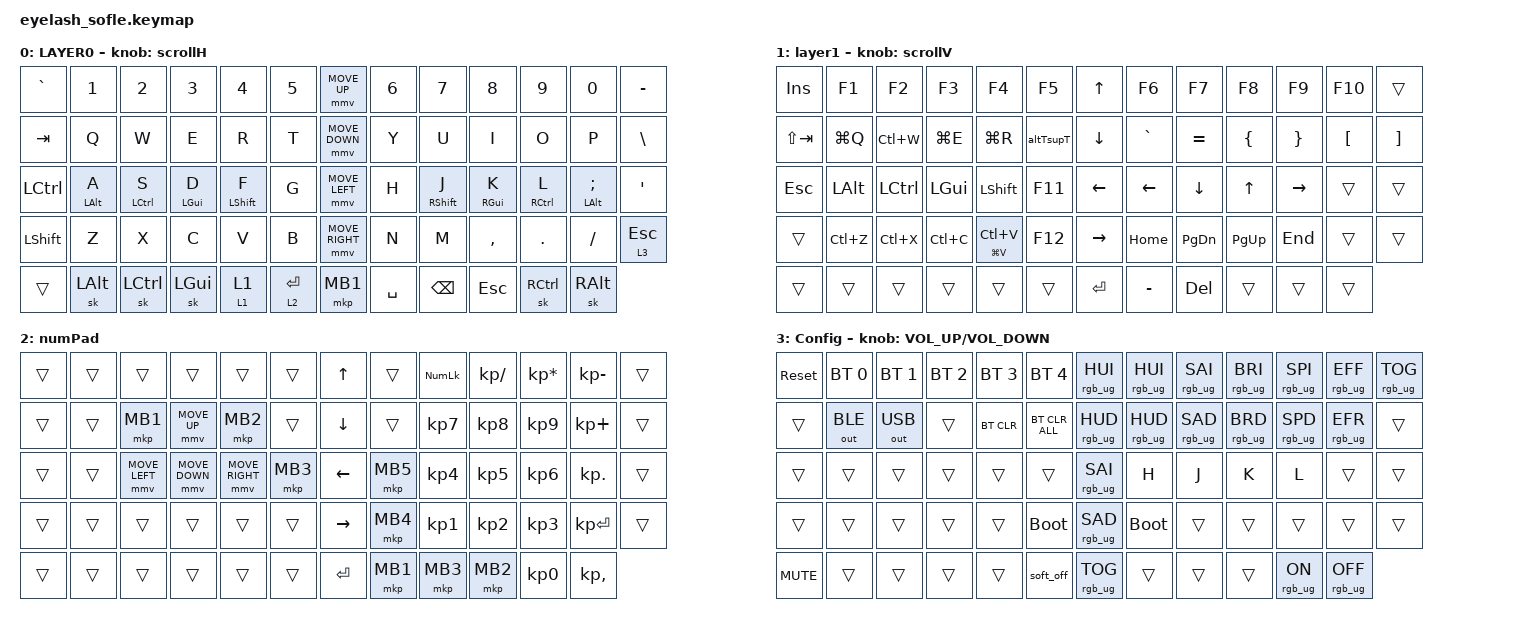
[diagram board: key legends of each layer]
#define ZMK_POINTING_DEFAULT_MOVE_VAL 1200  // 600
#define ZMK_POINTING_DEFAULT_SCRL_VAL 25   // 10

#include <input/processors.dtsi>
#include <zephyr/dt-bindings/input/input-event-codes.h>
#include <behaviors.dtsi>
#include <dt-bindings/zmk/bt.h>
#include <dt-bindings/zmk/keys.h>
#include <dt-bindings/zmk/outputs.h>
#include <dt-bindings/zmk/pointing.h>
#include <dt-bindings/zmk/rgb.h>

&mmv_input_listener { input-processors = <&zip_xy_scaler 2 1>; };

&msc_input_listener { input-processors = <&zip_scroll_scaler 2 1>; };

&msc {
    acceleration-exponent = <1>;      // 0
    time-to-max-speed-ms = <100>;       // 300
    delay-ms = <0>;                   // 0
};

&mmv {
    time-to-max-speed-ms = <500>;
    acceleration-exponent = <1>;
    trigger-period-ms = <16>;
};

/ {
    HoldTap: HoldTap {
        compatible = "zmk,behavior-hold-tap";
        label = "HOLDTAP";
        bindings = <&kp>, <&kp>;

        #binding-cells = <2>;
        flavor = "tap-preferred";
        tapping-term-ms = <400>;
    };

    holdToLayer: holdToLayer {
        compatible = "zmk,behavior-hold-tap";
        label = "HOLDTOLAYER";
        bindings = <&mo>, <&kp>;

        #binding-cells = <2>;
        tapping-term-ms = <400>;
        flavor = "tap-preferred";
    };

    holdTapLayer: holdTapLayer {
        compatible = "zmk,behavior-hold-tap";
        label = "HOLDTAPLAYER";
        bindings = <&mo>, <&sl>;

        #binding-cells = <2>;
        tapping-term-ms = <400>;
        flavor = "tap-preferred";
    };

    altTsupT: altTsupT {
        compatible = "zmk,behavior-tap-dance";
        label = "ALTTSUPT";
        #binding-cells = <0>;
        bindings = <&kp LA(T)>, <&kp LG(T)>;

        tapping-term-ms = <300>;
    };

    scrollH: scrollH {
        compatible = "zmk,behavior-sensor-rotate";
        label = "SCROLLH";
        #sensor-binding-cells = <0>;
        bindings = <&msc SCRL_DOWN>, <&msc SCRL_UP>;

        tap-ms = <100>;
    };

    scrollV: scrollV {
        compatible = "zmk,behavior-sensor-rotate";
        label = "SCROLLV";
        #sensor-binding-cells = <0>;
        bindings = <&msc SCRL_RIGHT>, <&msc SCRL_LEFT>;

        tap-ms = <100>;
    };

    combos {
        compatible = "zmk,combos";

        print {
            bindings = <&kp PRINTSCREEN>;
            key-positions = <59 51>;
        };

        print+super {
            bindings = <&kp LG(PRINTSCREEN)>;
            key-positions = <57 39>;
        };

        configLayer {
            bindings = <&sl 3>;
            key-positions = <1 2 3 4 57>;
        };
    };

    behaviors {
    };

    keymap {
        compatible = "zmk,keymap";

        Main {
            bindings = <
&kp GRAVE         &kp N1               &kp N2                   &kp N3               &kp N4                 &kp N5                   &mmv MOVE_UP     &kp N6     &kp N7                  &kp N8                &kp N9                    &kp N0                  &kp MINUS
&kp TAB           &kp Q                &kp W                    &kp E                &kp R                  &kp T                    &mmv MOVE_DOWN   &kp Y      &kp U                   &kp I                 &kp O                     &kp P                   &kp BSLH
&kp LEFT_CONTROL  &HoldTap LEFT_ALT A  &HoldTap LEFT_CONTROL S  &HoldTap LEFT_GUI D  &HoldTap LEFT_SHIFT F  &kp G                    &mmv MOVE_LEFT   &kp H      &HoldTap RIGHT_SHIFT J  &HoldTap RIGHT_GUI K  &HoldTap RIGHT_CONTROL L  &HoldTap LEFT_ALT SEMI  &kp APOS
&kp LSHFT         &kp Z                &kp X                    &kp C                &kp V                  &kp B                    &mmv MOVE_RIGHT  &kp N      &kp M                   &kp COMMA             &kp DOT                   &kp FSLH                &holdToLayer 3 ESCAPE
&trans            &sk LEFT_ALT         &sk LEFT_CONTROL         &sk LEFT_GUI         &holdTapLayer 1 1      &holdToLayer 2 RETURN    &mkp MB1         &kp SPACE  &kp BACKSPACE           &kp ESC               &sk RIGHT_CONTROL         &sk RIGHT_ALT
            >;

            sensor-bindings = <&scrollH>;
            display-name = "LAYER0";
        };

        Move {
            bindings = <
&kp INSERT   &kp F1        &kp F2            &kp F3        &kp F4                &kp F5       &kp UP     &kp F6          &kp F7     &kp F8          &kp F9           &kp F10           &trans
&kp LS(TAB)  &kp LG(Q)     &kp LC(W)         &kp LG(E)     &kp LG(R)             &altTsupT    &kp DOWN   &kp GRAVE       &kp EQUAL  &kp LEFT_BRACE  &kp RIGHT_BRACE  &kp LEFT_BRACKET  &kp RIGHT_BRACKET
&kp ESC      &kp LEFT_ALT  &kp LEFT_CONTROL  &kp LEFT_GUI  &kp LEFT_SHIFT        &kp F11      &kp LEFT   &kp LEFT_ARROW  &kp DOWN   &kp UP_ARROW    &kp RIGHT        &trans            &trans
&trans       &kp LC(Z)     &kp LC(X)         &kp LC(C)     &HoldTap LG(V) LC(V)  &kp F12      &kp RIGHT  &kp HOME        &kp PG_DN  &kp PG_UP       &kp END          &trans            &trans
&trans       &trans        &trans            &trans        &trans                &trans       &kp ENTER  &kp MINUS       &kp DEL    &trans          &trans           &trans
            >;

            display-name = "layer1";
            sensor-bindings = <&scrollV>;
        };

        numPad {
            bindings = <
&trans  &trans  &trans          &trans          &trans           &trans      &kp UP_ARROW    &trans    &kp KP_NUMLOCK   &kp KP_DIVIDE    &kp KP_ASTERISK  &kp KP_MINUS  &trans
&trans  &trans  &mkp MB1        &mmv MOVE_UP    &mkp MB2         &trans      &kp DOWN        &trans    &kp KP_NUMBER_7  &kp KP_NUMBER_8  &kp KP_NUMBER_9  &kp KP_PLUS   &trans
&trans  &trans  &mmv MOVE_LEFT  &mmv MOVE_DOWN  &mmv MOVE_RIGHT  &mkp MB3    &kp LEFT_ARROW  &mkp MB5  &kp KP_NUMBER_4  &kp KP_NUMBER_5  &kp KP_NUMBER_6  &kp KP_DOT    &trans
&trans  &trans  &trans          &trans          &trans           &trans      &kp RIGHT       &mkp MB4  &kp KP_NUMBER_1  &kp KP_NUMBER_2  &kp KP_NUMBER_3  &kp KP_ENTER  &trans
&trans  &trans  &trans          &trans          &trans           &trans      &kp ENTER       &mkp MB1  &mkp MB3         &mkp MB2         &kp KP_NUMBER_0  &kp KP_COMMA
            >;
        };

        Config {
            bindings = <
&sys_reset  &bt BT_SEL 0  &bt BT_SEL 1  &bt BT_SEL 2  &bt BT_SEL 3  &bt BT_SEL 4      &rgb_ug RGB_HUI  &rgb_ug RGB_HUI  &rgb_ug RGB_SAI  &rgb_ug RGB_BRI  &rgb_ug RGB_SPI  &rgb_ug RGB_EFF  &rgb_ug RGB_TOG
&trans      &out OUT_BLE  &out OUT_USB  &trans        &bt BT_CLR    &bt BT_CLR_ALL    &rgb_ug RGB_HUD  &rgb_ug RGB_HUD  &rgb_ug RGB_SAD  &rgb_ug RGB_BRD  &rgb_ug RGB_SPD  &rgb_ug RGB_EFR  &trans
&trans      &trans        &trans        &trans        &trans        &trans            &rgb_ug RGB_SAI  &kp H            &kp J            &kp K            &kp L            &trans           &trans
&trans      &trans        &trans        &trans        &trans        &bootloader       &rgb_ug RGB_SAD  &bootloader      &trans           &trans           &trans           &trans           &trans
&kp K_MUTE  &trans        &trans        &trans        &trans        &soft_off         &rgb_ug RGB_TOG  &trans           &trans           &trans           &rgb_ug RGB_ON   &rgb_ug RGB_OFF
            >;

            sensor-bindings = <&inc_dec_kp K_VOLUME_UP K_VOLUME_DOWN>;
        };
    };
};
